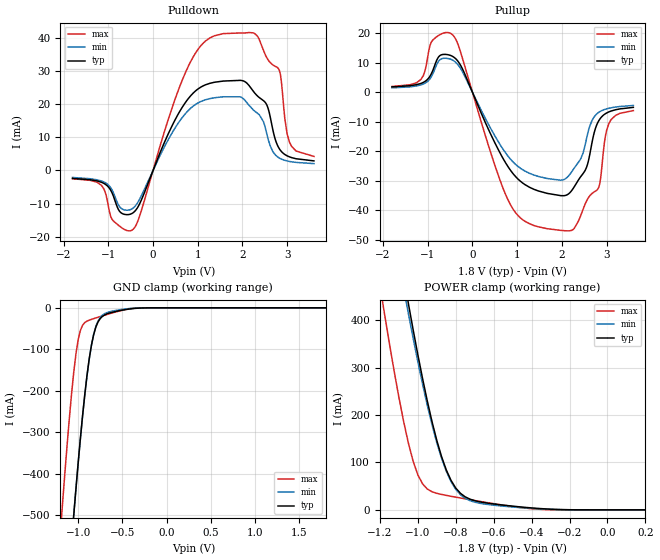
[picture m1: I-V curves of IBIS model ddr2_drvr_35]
| [Disclaimer]
| [Copyright] Copyright (C) 1998 - 2004 Freescale Semiconductor
| From P1021 IBIS.ibs, P1021, Freescale
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| * 8520 DDR2 Driver Model - 35 Ohm Setting *
[Model]   ddr2_drvr_35
Model_type I/O
Polarity   Non-Inverting
Vinl = 0.7V
Vinh = 1.1V
Vmeas = 0.9V
Cref = 0
Rref = 50
Vref = 0.9V
|   typ   min   max
C_comp   3.628490e-12   2.023040e-12   4.796400e-12
|   typ   min   max
[Voltage range]   1.8V   1.7V   1.9V
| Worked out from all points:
|   slope of the pulldown table from 0 to 0.27 V, typ, clamps not added: 30 ohm
|   slope of the pullup table from 0 to 0.27 V, typ, clamps not added: 28.1 ohm
|   GND clamp passes 1 mA (typ) near -0.33 V on its own axis
|   POWER clamp passes 1 mA (typ) near -0.28 V on its own axis
[Pulldown]
| Warnings regarding non-monotonicity are expected
| Voltage   I(typ)   I(min)   I(max)
-1.8V     -2.402mA   -2.109mA   -2.488mA
-1.15V    -3.582mA   -3.193mA   -4.536mA
-900mV    -7.277mA   -6.325mA   -15.07mA
-725mV    -12.7mA    -11.32mA   -17.09mA
-450mV    -12.85mA   -11.44mA   -17.87mA
750mV     21.06mA    17.6mA     30.39mA
1.575V    27.08mA    22.33mA    41.45mA
2.325V    22.71mA    17.44mA    40.85mA
2.55V     19.72mA    10.83mA    34.03mA
2.825V    6.589mA    3.773mA    30.37mA
3.05V     4.136mA    2.747mA    8.679mA
3.6V      2.906mA    2.078mA    4.268mA
[GND_clamp]
| Voltage   I(typ)   I(min)   I(max)
-1.8V     -2.78A     -2.734A    -2.433A
-1.2V     -918.5mA   -909.4mA   -538.8mA
-1.175V   -846mA     -838.3mA   -467.5mA
-1.1V     -634.6mA   -630.8mA   -267.7mA
-1.05V    -500.5mA   -498.8mA   -155.7mA
-975mV    -315.3mA   -316.1mA   -54.58mA
-900mV    -162.7mA   -164.1mA   -32.05mA
-850mV    -90.19mA   -90.35mA   -27.79mA
-800mV    -46.39mA   -44.74mA   -24.31mA
-650mV    -12.83mA   -9.896mA   -14.51mA
-300mV    -558.6uA   -261.1uA   -231.9uA
1.8V      1.714uA    9.547uA    12.62nA
[Pullup]
| Warnings regarding non-monotonicity are expected
| Voltage   I(typ)   I(min)   I(max)
-1.8V     1.811mA    1.486mA    1.948mA
-1.15V    2.992mA    2.492mA    4.356mA
-900mV    6.859mA    5.768mA    17.4mA
-450mV    12.19mA    10.93mA    19.53mA
850mV     -26.36mA   -22.6mA    -38.02mA
1.975V    -34.97mA   -29.76mA   -46.73mA
2.275V    -32.05mA   -25.7mA    -46.11mA
2.525V    -26.34mA   -17.57mA   -37.7mA
2.775V    -11.24mA   -7.424mA   -33.21mA
2.85V     -9.071mA   -6.563mA   -30.82mA
3.05V     -6.654mA   -5.419mA   -10.65mA
3.6V      -5.104mA   -4.468mA   -6.192mA
[POWER_clamp]
| Warnings about POWER_clamp data never reaching
| zero are expected, and this is okay as long as
| the 0V data are around 10uA or less
| Voltage   I(typ)   I(min)   I(max)
-1.8V     2.412A     2.266A     2.142A
-1.2V     797.2mA    753.3mA    475mA
-1.175V   734.5mA    694.6mA    412.6mA
-1.1V     552mA      523.4mA    238.4mA
-1.05V    436.4mA    415mA      141.5mA
-1V       328.1mA    313.2mA    74.16mA
-925mV    186.2mA    179.4mA    38.2mA
-875mV    112.7mA    109.2mA    32.53mA
-825mV    62.3mA     59.8mA     28.63mA
-725mV    22.56mA    19.44mA    21.45mA
-350mV    2.574mA    1.808mA    967.2uA
200mV     0A         0A         0A
|   typ   min   max
[Ramp]
dV/dt_r   0.671145/1.81258E-10   0.595242/2.57621E-10   0.809324/7.70854E-11
dV/dt_f   0.633607/1.94451E-10   0.548057/2.84554E-10   0.776808/7.37799E-11
